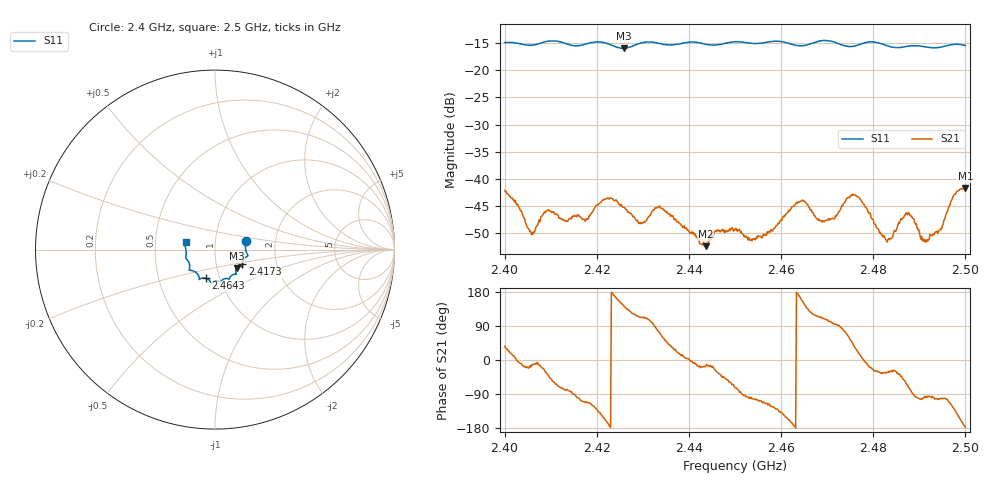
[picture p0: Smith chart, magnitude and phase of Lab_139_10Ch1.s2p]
# Hz S RI R 50
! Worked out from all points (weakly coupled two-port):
!   601 points, 2.4 GHz to 2.5 GHz, reference 50 ohm
!   highest |S21| = -41.75 dB at 2.5 GHz (marker M1); lowest = -52.4 dB at 2.4437 GHz (marker M2)
!   lowest |S11| = -16.0 dB at 2.4258 GHz (marker M3), VSWR 1.38, Z = 62.3 - j13.2 ohm
!   |S11| at or under -10 dB: start of sweep to end of sweep
!   S12 and S22 are empty: the file has one direction only
!   S11 on the Smith chart (normalised r, x): 2.4 GHz: 1.41, +0.14; 2.4173 GHz: 1.34, -0.23; 2.4643 GHz: 0.86, -0.28; 2.5 GHz: 0.72, +0.06
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2.4e9  0.1732 0.0496  0.00632 0.00464  0 0  0 0
2.406e9  0.1705 0.00119  0.00312 -0.000644  0 0  0 0
2.409167e9  0.1821 -0.029  0.00413 -0.00301  0 0  0 0
2.416667e9  0.153 -0.0746  -0.00135 -0.00419  0 0  0 0
2.417333e9  0.1524 -0.0821  -0.00144 -0.00398  0 0  0 0
2.422e9  0.151 -0.0945  -0.00611 -0.00224  0 0  0 0
2.425833e9  0.1214 -0.1033  -0.00441 0.00324  0 0  0 0
2.429667e9  0.1175 -0.1348  -0.00148 0.00358  0 0  0 0
2.433333e9  0.1131 -0.1368  0.00133 0.00526  0 0  0 0
2.443667e9  0.0652 -0.1607  0.00231 -0.000644  0 0  0 0
2.45e9  0.0297 -0.1808  0.000984 -0.00323  0 0  0 0
2.456333e9  -0.00908 -0.1797  -0.0012 -0.00279  0 0  0 0
2.464333e9  -0.0504 -0.1602  -0.0059 0.00208  0 0  0 0
2.466667e9  -0.0762 -0.1596  -0.00271 0.00426  0 0  0 0
2.471e9  -0.0869 -0.1633  -0.00062 0.00425  0 0  0 0
2.476e9  -0.1168 -0.1199  0.00593 0.0039  0 0  0 0
2.483333e9  -0.1408 -0.0894  0.00245 -0.00142  0 0  0 0
2.487333e9  -0.1572 -0.0543  0.00202 -0.00428  0 0  0 0
2.491667e9  -0.161 -0.0286  -0.000267 -0.00275  0 0  0 0
2.494667e9  -0.1634 0.00654  -0.000659 -0.00345  0 0  0 0
2.497833e9  -0.1712 0.0309  -0.00512 -0.00518  0 0  0 0
2.5e9  -0.1636 0.0422  -0.00817 -0.000336  0 0  0 0
